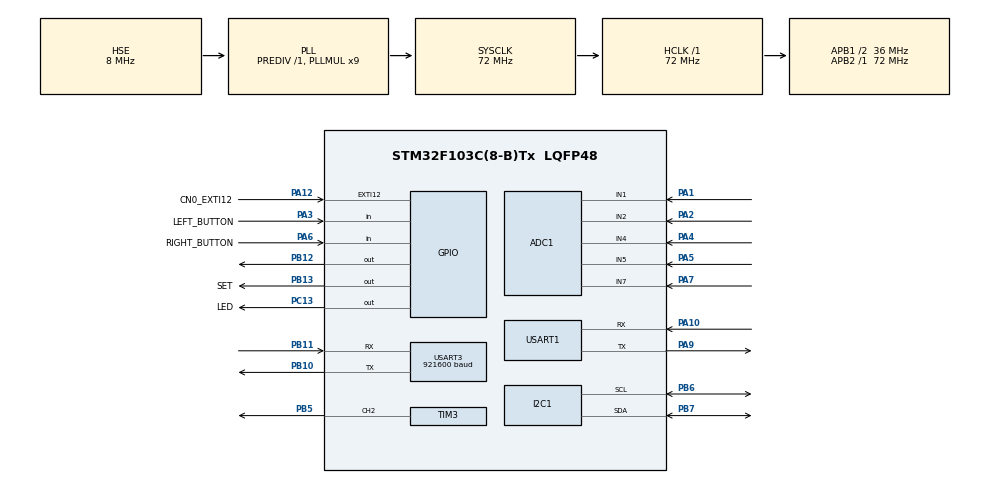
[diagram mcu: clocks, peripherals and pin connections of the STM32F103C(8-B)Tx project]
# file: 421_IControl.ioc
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ADC1.Channel-10\#ChannelRegularConversion=ADC_CHANNEL_2
ADC1.Channel-11\#ChannelRegularConversion=ADC_CHANNEL_4
ADC1.Channel-12\#ChannelRegularConversion=ADC_CHANNEL_5
ADC1.Channel-13\#ChannelRegularConversion=ADC_CHANNEL_VREFINT
ADC1.Channel-14\#ChannelRegularConversion=ADC_CHANNEL_7
ADC1.Channel-6\#ChannelRegularConversion=ADC_CHANNEL_1
ADC1.ContinuousConvMode=ENABLE
ADC1.NbrOfConversion=6
ADC1.NbrOfConversionFlag=1
ADC1.Rank-10\#ChannelRegularConversion=2
ADC1.Rank-11\#ChannelRegularConversion=3
ADC1.Rank-12\#ChannelRegularConversion=4
ADC1.Rank-13\#ChannelRegularConversion=5
ADC1.Rank-14\#ChannelRegularConversion=6
ADC1.Rank-6\#ChannelRegularConversion=1
ADC1.SamplingTime-10\#ChannelRegularConversion=ADC_SAMPLETIME_28CYCLES_5
ADC1.SamplingTime-11\#ChannelRegularConversion=ADC_SAMPLETIME_13CYCLES_5
ADC1.SamplingTime-12\#ChannelRegularConversion=ADC_SAMPLETIME_13CYCLES_5
ADC1.SamplingTime-13\#ChannelRegularConversion=ADC_SAMPLETIME_13CYCLES_5
ADC1.SamplingTime-14\#ChannelRegularConversion=ADC_SAMPLETIME_239CYCLES_5
ADC1.SamplingTime-6\#ChannelRegularConversion=ADC_SAMPLETIME_28CYCLES_5
ADC1.master=1
Dma.ADC1.2.Direction=DMA_PERIPH_TO_MEMORY
Dma.ADC1.2.Instance=DMA1_Channel1
Dma.ADC1.2.MemDataAlignment=DMA_MDATAALIGN_WORD
Dma.ADC1.2.MemInc=DMA_MINC_ENABLE
Dma.ADC1.2.Mode=DMA_CIRCULAR
Dma.ADC1.2.PeriphDataAlignment=DMA_PDATAALIGN_WORD
Dma.ADC1.2.PeriphInc=DMA_PINC_DISABLE
Dma.ADC1.2.Priority=DMA_PRIORITY_MEDIUM
Dma.Request0=USART3_RX
Dma.Request1=USART3_TX
Dma.Request2=ADC1
Dma.USART3_RX.0.Direction=DMA_PERIPH_TO_MEMORY
Dma.USART3_RX.0.Instance=DMA1_Channel3
Dma.USART3_RX.0.MemDataAlignment=DMA_MDATAALIGN_BYTE
Dma.USART3_RX.0.MemInc=DMA_MINC_ENABLE
Dma.USART3_RX.0.Mode=DMA_CIRCULAR
Dma.USART3_RX.0.PeriphDataAlignment=DMA_PDATAALIGN_BYTE
Dma.USART3_RX.0.PeriphInc=DMA_PINC_DISABLE
Dma.USART3_RX.0.Priority=DMA_PRIORITY_HIGH
Dma.USART3_TX.1.Direction=DMA_MEMORY_TO_PERIPH
Dma.USART3_TX.1.Instance=DMA1_Channel2
Dma.USART3_TX.1.MemDataAlignment=DMA_MDATAALIGN_BYTE
Dma.USART3_TX.1.MemInc=DMA_MINC_ENABLE
Dma.USART3_TX.1.Mode=DMA_NORMAL
Dma.USART3_TX.1.PeriphDataAlignment=DMA_PDATAALIGN_BYTE
Dma.USART3_TX.1.PeriphInc=DMA_PINC_DISABLE
Dma.USART3_TX.1.Priority=DMA_PRIORITY_MEDIUM
FREERTOS.INCLUDE_vTaskDelayUntil=1
FREERTOS.Tasks01=defaultTask,0,128,StartDefaultTask,Default,NULL,Dynamic,NULL,NULL;UserAction,-3,128,User_Action,As external,NULL,Dynamic,NULL,NULL
FREERTOS.configTOTAL_HEAP_SIZE=8192
I2C1.I2C_Mode=I2C_Fast
Mcu.Family=STM32F1
Mcu.Name=STM32F103C(8-B)Tx
Mcu.Package=LQFP48
NVIC.DMA1_Channel1_IRQn=true\:5\:0\:false\:false\:true\:true\:false\:true
NVIC.DMA1_Channel2_IRQn=true\:5\:0\:false\:false\:true\:true\:false\:true
NVIC.DMA1_Channel3_IRQn=true\:5\:0\:false\:false\:true\:true\:false\:true
NVIC.PriorityGroup=NVIC_PRIORITYGROUP_4
NVIC.TIM1_UP_IRQn=true\:15\:0\:false\:false\:true\:false\:false\:true
NVIC.TimeBase=TIM1_UP_IRQn
NVIC.TimeBaseIP=TIM1
NVIC.USART1_IRQn=true\:5\:0\:false\:false\:true\:true\:true\:true
NVIC.USART3_IRQn=true\:5\:0\:false\:false\:true\:true\:true\:true
PA1.Signal=ADCx_IN1
PA10.Mode=Asynchronous
PA10.Signal=USART1_RX
PA12.GPIO_Label=CN0_EXTI12
PA12.GPIO_PuPd=GPIO_NOPULL
PA12.Signal=GPXTI12
PA13.Mode=Serial_Wire
PA13.Signal=SYS_JTMS-SWDIO
PA14.Mode=Serial_Wire
PA14.Signal=SYS_JTCK-SWCLK
PA2.Signal=ADCx_IN2
PA3.GPIO_Label=LEFT_BUTTON
PA3.GPIO_PuPd=GPIO_PULLUP
PA3.Signal=GPIO_Input
PA4.Signal=ADCx_IN4
PA5.Signal=ADCx_IN5
PA6.GPIO_Label=RIGHT_BUTTON
PA6.GPIO_PuPd=GPIO_PULLUP
PA6.Signal=GPIO_Input
PA7.Signal=ADCx_IN7
PA9.Mode=Asynchronous
PA9.Signal=USART1_TX
PB10.Mode=Asynchronous
PB10.Signal=USART3_TX
PB11.Mode=Asynchronous
PB11.Signal=USART3_RX
PB12.GPIO_Speed=GPIO_SPEED_FREQ_LOW
PB12.PinState=GPIO_PIN_RESET
PB12.Signal=GPIO_Output
PB13.GPIO_Label=SET
PB13.Signal=GPIO_Output
PB5.Signal=S_TIM3_CH2
PB6.Mode=I2C
PB6.Signal=I2C1_SCL
PB7.Mode=I2C
PB7.Signal=I2C1_SDA
PC13-TAMPER-RTC.GPIO_Label=LED
PC13-TAMPER-RTC.GPIO_PuPd=GPIO_PULLDOWN
PC13-TAMPER-RTC.Signal=GPIO_Output
PD0-OSC_IN.Mode=HSE-External-Oscillator
PD0-OSC_IN.Signal=RCC_OSC_IN
PD1-OSC_OUT.Mode=HSE-External-Oscillator
PD1-OSC_OUT.Signal=RCC_OSC_OUT
ProjectManager.HeapSize=0x200
ProjectManager.StackSize=0x400
ProjectManager.TargetToolchain=MDK-ARM V5.27
RCC.ADCPresc=RCC_ADCPCLK2_DIV6
RCC.AHBFreq_Value=72000000
RCC.APB1CLKDivider=RCC_HCLK_DIV2
RCC.APB1Freq_Value=36000000
RCC.APB1TimFreq_Value=72000000
RCC.APB2Freq_Value=72000000
RCC.APB2TimFreq_Value=72000000
RCC.HCLKFreq_Value=72000000
RCC.PLLMUL=RCC_PLL_MUL9
RCC.PLLSourceVirtual=RCC_PLLSOURCE_HSE
RCC.SYSCLKFreq_VALUE=72000000
RCC.SYSCLKSource=RCC_SYSCLKSOURCE_PLLCLK
RCC.USBFreq_Value=72000000
SH.ADCx_IN1.0=ADC1_IN1,IN1
SH.ADCx_IN2.0=ADC1_IN2,IN2
SH.ADCx_IN4.0=ADC1_IN4,IN4
SH.ADCx_IN5.0=ADC1_IN5,IN5
SH.ADCx_IN7.0=ADC1_IN7,IN7
SH.S_TIM3_CH2.0=TIM3_CH2,PWM Generation2 CH2
TIM3.Channel-PWM\ Generation2\ CH2=TIM_CHANNEL_2
TIM3.OCMode_PWM-PWM\ Generation2\ CH2=TIM_OCMODE_PWM1
TIM3.Period=100
TIM3.Prescaler=36000
TIM4.AutoReloadPreload=TIM_AUTORELOAD_PRELOAD_ENABLE
TIM4.Period=10000
TIM4.Prescaler=71
USART1.VirtualMode=VM_ASYNC
USART3.BaudRate=921600
USART3.VirtualMode=VM_ASYNC
VP_ADC1_Vref_Input.Mode=IN-Vrefint
VP_FREERTOS_VS_CMSIS_V1.Mode=CMSIS_V1
VP_SYS_VS_tim1.Mode=TIM1
VP_TIM4_VS_ClockSourceINT.Mode=Internal
board=custom

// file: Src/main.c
/* USER CODE BEGIN Header */
/**
  ******************************************************************************
  * @file           : main.c
  * @brief          : Main program body
  ******************************************************************************
  * @attention
  *
  * <h2><center>&copy; Copyright (c) 2020 STMicroelectronics.
  * All rights reserved.</center></h2>
  *
  * This software component is licensed by ST under BSD 3-Clause license,
  * the "License"; You may not use this file except in compliance with the
  * License. You may obtain a copy of the License at:
  *                        opensource.org/licenses/BSD-3-Clause
  *
  ******************************************************************************
  */
/* USER CODE END Header */
#include "main.h"
#include "cmsis_os.h"
#include "adc.h"
#include "dma.h"
#include "i2c.h"
#include "tim.h"
#include "usart.h"
#include "gpio.h"

/* USER CODE BEGIN Includes */
#include "ssd1306.h"
#include "filter_task.h"
#include "cube.h"
#include <stdio.h>
#include <string.h>
#include "FreeRTOS.h"
/* USER CODE END Includes */

/* USER CODE BEGIN PTD */
uint8_t send_buffer[8]={0x11,0x00,0x00,0x00,0x00,0x00,0x00,0x22};
uint8_t config[] = {0xA9,0xE1,0x06,0x00,0x09,0xa0,0x66,0x77,0x88,0x55,0x00,0x00,0x0D,0x0A};
uint8_t config2[] = {0xAA,0xE2,0x0D,0x0A};
uint8_t hour = 22,min = 0,second = 20;
unsigned int volt[6];
uint8_t rate[52];
float VBAT;
uint8_t button_flag,init_anime = 0;
extern uint8_t aRxBuffer1[400];		// husart3 rxbuff
/* USER CODE END PTD */

/* USER CODE BEGIN PD */
#ifdef __cplusplus
extern "C" {
#endif

extern void MX_FREERTOS_Init(void);

#ifdef __cplusplus
}
#endif

/* USER CODE END PD */

void SystemClock_Config(void);
void MX_FREERTOS_Init(void);

/* USER CODE BEGIN 0 */
#pragma import(__use_no_semihosting)
//标准库需要的支持函数
struct __FILE
{
  int handle;
};

FILE __stdout;
//定义_sys_exit()以避免使用半主机模式
void _sys_exit(int x){x = x;}
void _ttywrch(int ch){ch = ch;}

//重定义fputc函数
int fputc(int ch, FILE *f){
  HAL_UART_Transmit(&huart3, (uint8_t *)&ch,1,0xff);  //根据使用的库重定向
  return ch;
}
/* USER CODE END 0 */

int main(void)
{

  /* MCU Configuration--------------------------------------------------------*/

  /* Reset of all peripherals, Initializes the Flash interface and the Systick. */
  HAL_Init();

  /* Configure the system clock */
  SystemClock_Config();

  /* Initialize all configured peripherals */
  MX_GPIO_Init();
  MX_DMA_Init();
  MX_USART1_UART_Init();
  MX_TIM4_Init();
  MX_USART3_UART_Init();
  MX_ADC1_Init();
  MX_I2C1_Init();
  MX_TIM3_Init();
  /* USER CODE BEGIN 2 */
	HAL_Delay(50);
	__HAL_UART_ENABLE_IT(&huart3, UART_IT_IDLE);
	HAL_UART_Receive_DMA(&huart3,aRxBuffer1,400);
	HAL_ADCEx_Calibration_Start(&hadc1);
	HAL_ADC_Start_DMA(&hadc1,volt,6);
	aRxBuffer1[0] = 0;
	HAL_GPIO_WritePin(LED_GPIO_Port,LED_Pin,GPIO_PIN_SET);
  /* USER CODE END 2 */

  /* Call init function for freertos objects (in freertos.c) */
  MX_FREERTOS_Init();
  /* Start scheduler */
  osKernelStart();

  /* We should never get here as control is now taken by the scheduler */
  /* Infinite loop */
  while (1)
  {

  }
}

void SystemClock_Config(void)
{
  RCC_OscInitTypeDef RCC_OscInitStruct = {0};
  RCC_ClkInitTypeDef RCC_ClkInitStruct = {0};
  RCC_PeriphCLKInitTypeDef PeriphClkInit = {0};

  /** Initializes the RCC Oscillators according to the specified parameters
  * in the RCC_OscInitTypeDef structure.
  */
  RCC_OscInitStruct.OscillatorType = RCC_OSCILLATORTYPE_HSE;
  RCC_OscInitStruct.HSEState = RCC_HSE_ON;
  RCC_OscInitStruct.HSEPredivValue = RCC_HSE_PREDIV_DIV1;
  RCC_OscInitStruct.HSIState = RCC_HSI_ON;
  RCC_OscInitStruct.PLL.PLLState = RCC_PLL_ON;
  RCC_OscInitStruct.PLL.PLLSource = RCC_PLLSOURCE_HSE;
  RCC_OscInitStruct.PLL.PLLMUL = RCC_PLL_MUL9;
  if (HAL_RCC_OscConfig(&RCC_OscInitStruct) != HAL_OK)
  {
    Error_Handler();
  }
  /** Initializes the CPU, AHB and APB buses clocks
  */
  RCC_ClkInitStruct.ClockType = RCC_CLOCKTYPE_HCLK|RCC_CLOCKTYPE_SYSCLK
                              |RCC_CLOCKTYPE_PCLK1|RCC_CLOCKTYPE_PCLK2;
  RCC_ClkInitStruct.SYSCLKSource = RCC_SYSCLKSOURCE_PLLCLK;
  RCC_ClkInitStruct.AHBCLKDivider = RCC_SYSCLK_DIV1;
  RCC_ClkInitStruct.APB1CLKDivider = RCC_HCLK_DIV2;
  RCC_ClkInitStruct.APB2CLKDivider = RCC_HCLK_DIV1;

  if (HAL_RCC_ClockConfig(&RCC_ClkInitStruct, FLASH_LATENCY_2) != HAL_OK)
  {
    Error_Handler();
  }
  PeriphClkInit.PeriphClockSelection = RCC_PERIPHCLK_ADC;
  PeriphClkInit.AdcClockSelection = RCC_ADCPCLK2_DIV6;
  if (HAL_RCCEx_PeriphCLKConfig(&PeriphClkInit) != HAL_OK)
  {
    Error_Handler();
  }
}

/* USER CODE BEGIN 4 */
/* yang1
*/
void HAL_UART_RxCpltCallback(UART_HandleTypeDef *huart)
{
	if(huart->Instance == USART3)
	{
		HAL_UART_Receive_IT(&huart3,aRxBuffer1,1);
	}
}
//void HAL_TIM_PeriodElapsedCallback(TIM_HandleTypeDef *htim){
//	if(htim ==  &htim3){
//		//HAL_GPIO_TogglePin(GPIOB,GPIO_PIN_5);
//		second++;
//		if(second == 60){
//			second = 0;
//			min++;
////			Show_Timess(hour,min);
//		}
//		if(min == 60){
//			min = 0;
//			hour++;
//		}
//		if(hour == 24){
//			hour = 0;
//		}
//	}
//}
/* USER CODE END 4 */

void HAL_TIM_PeriodElapsedCallback(TIM_HandleTypeDef *htim)
{
  if (htim->Instance == TIM1) {
    HAL_IncTick();
  }
}

void Error_Handler(void)
{
}

/************************ (C) COPYRIGHT STMicroelectronics *****END OF FILE****/

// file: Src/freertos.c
/* USER CODE BEGIN Header */
/**
  ******************************************************************************
  * File Name          : freertos.c
  * Description        : Code for freertos applications
  ******************************************************************************
  * @attention
  *
  * <h2><center>&copy; Copyright (c) 2021 STMicroelectronics.
  * All rights reserved.</center></h2>
  *
  * This software component is licensed by ST under Ultimate Liberty license
  * SLA0044, the "License"; You may not use this file except in compliance with
  * the License. You may obtain a copy of the License at:
  *                             www.st.com/SLA0044
  *
  ******************************************************************************
  */
/* USER CODE END Header */

#include "FreeRTOS.h"
#include "task.h"
#include "main.h"
#include "cmsis_os.h"

/* USER CODE BEGIN Includes */
#include "RTOSTask.h"
/* USER CODE END Includes */

osThreadId defaultTaskHandle;
osThreadId UserActionHandle;

void StartDefaultTask(void const * argument);
extern void User_Action(void const * argument);

void MX_FREERTOS_Init(void); /* (MISRA C 2004 rule 8.1) */

/* GetIdleTaskMemory prototype (linked to static allocation support) */
void vApplicationGetIdleTaskMemory( StaticTask_t **ppxIdleTaskTCBBuffer, StackType_t **ppxIdleTaskStackBuffer, uint32_t *pulIdleTaskStackSize );

/* USER CODE BEGIN GET_IDLE_TASK_MEMORY */
static StaticTask_t xIdleTaskTCBBuffer;
static StackType_t xIdleStack[configMINIMAL_STACK_SIZE];

void vApplicationGetIdleTaskMemory( StaticTask_t **ppxIdleTaskTCBBuffer, StackType_t **ppxIdleTaskStackBuffer, uint32_t *pulIdleTaskStackSize )
{
  *ppxIdleTaskTCBBuffer = &xIdleTaskTCBBuffer;
  *ppxIdleTaskStackBuffer = &xIdleStack[0];
  *pulIdleTaskStackSize = configMINIMAL_STACK_SIZE;
  /* place for user code */
}
/* USER CODE END GET_IDLE_TASK_MEMORY */

void MX_FREERTOS_Init(void) {

  /* Create the thread(s) */
  /* definition and creation of defaultTask */
  osThreadDef(defaultTask, StartDefaultTask, osPriorityNormal, 0, 128);
  defaultTaskHandle = osThreadCreate(osThread(defaultTask), NULL);

  /* definition and creation of UserAction */
  osThreadDef(UserAction, User_Action, osPriorityIdle, 0, 128);
  UserActionHandle = osThreadCreate(osThread(UserAction), NULL);

}

void StartDefaultTask(void const * argument)
{
  for(;;)
  {
    osDelay(1);
  }
}

/************************ (C) COPYRIGHT STMicroelectronics *****END OF FILE****/
